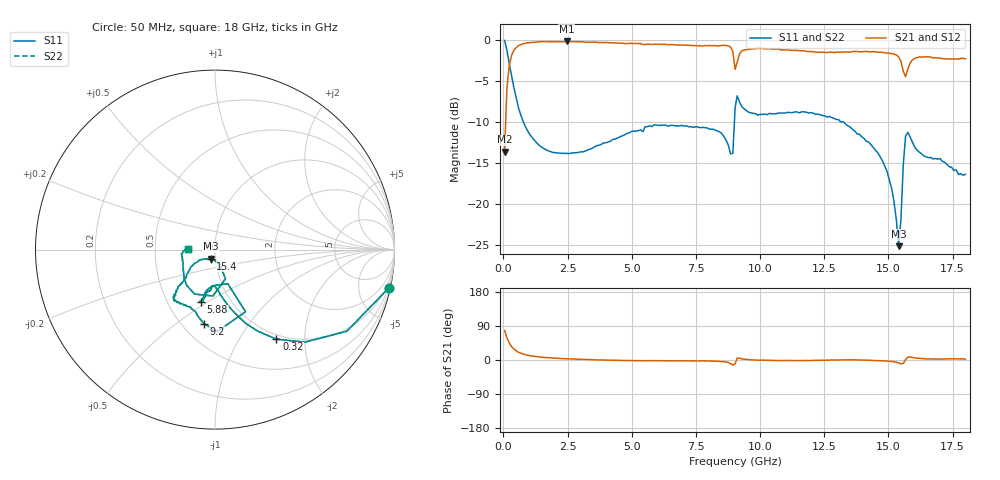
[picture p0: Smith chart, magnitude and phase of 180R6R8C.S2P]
!  American Technical Ceramics  Date:  3/13/98
!  One Norden Lane
!  Huntington Station,  NY.  11746-2102
!  Tel:  (516) 547-5700  Fax:  (516) 547-5748
!  Part Number  180r6r8c
!  Description: Porcelain, High Q, Low ESR
!  Application: Bypass, Coupling, Timing, Feedback
!  Tuning, Impedance Match, Blocking
# GHZ S DB R 50
! Freq  |S11|  S11 Ph  |S21|  S21 Ph  |S12|  S12 Ph  |S22|  S22 Ph
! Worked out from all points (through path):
!   201 points, 50 MHz to 18 GHz, reference 50 ohm
!   highest |S21| = -0.19 dB at 2.47 GHz (marker M1); lowest = -13.7 dB at 50 MHz (marker M2)
!   group delay of S21, straight-line fit = 1.77 ps
!   lowest |S11| = -25.2 dB at 15.4 GHz (marker M3), VSWR 1.12, Z = 47.5 - j4.73 ohm
!   |S11| at or under -10 dB: 779.4 MHz to 9.002 GHz (8.223 GHz wide, 168 % of centre); 13.14069 GHz to 13.204 GHz (63.31 MHz wide, 0.481 % of centre); 13.25 GHz to end of sweep
!   |S22| runs from -25.2 to -0.1 dB; largest |S21 - S12| = 0
!   S11 on the Smith chart (normalised r, x): 50 MHz: 0.34, -9.16; 320 MHz: 0.93, -1.46; 5.88 GHz: 0.73, -0.47; 9.2 GHz: 0.64, -0.64; 15.4 GHz: 0.95, -0.09; 18 GHz: 0.74, +0.01
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0.05  -0.07 -12.4  -13.65 77.8  -13.65 77.8  -0.07 -12.4
0.14  -1.27 -31.7  -5.88 58.6  -5.88 58.6  -1.27 -31.7
0.32  -4.37 -55.6  -1.91 35.6  -1.91 35.6  -4.37 -55.6
0.59  -8.28 -71.5  -0.70 20.4  -0.70 20.4  -8.28 -71.5
1.04  -11.59 -82.0  -0.34 11.3  -0.34 11.3  -11.59 -82.0
2.47  -13.86 -92.2  -0.19 3.1  -0.19 3.1  -13.86 -92.2
3.1  -13.67 -95.0  -0.25 1.7  -0.25 1.7  -13.67 -95.0
5.88  -10.37 -104.8  -0.52 -1.8  -0.52 -1.8  -10.37 -104.8
6.06  -10.45 -104.5  -0.55 -1.9  -0.55 -1.9  -10.45 -104.5
8.4  -11.20 -103.8  -0.74 -3.4  -0.74 -3.4  -11.20 -103.8
8.94  -13.87 -69.4  -1.43 -13.5  -1.43 -13.5  -13.87 -69.4
9.03  -8.27 -63.8  -3.60 -10.0  -3.60 -10.0  -8.27 -63.8
9.11  -6.83 -88.3  -2.73 5.1  -2.73 5.1  -6.83 -88.3
9.2  -7.59 -98.6  -1.74 4.6  -1.74 4.6  -7.59 -98.6
12.08  -8.97 -130.6  -1.45 -1.2  -1.45 -1.2  -8.97 -130.6
14.23  -12.48 -135.8  -1.46 -0.6  -1.46 -0.6  -12.48 -135.8
15.04  -17.17 -146.1  -1.64 -3.3  -1.64 -3.3  -17.17 -146.1
15.4  -25.19 -115.4  -2.07 -7.9  -2.07 -7.9  -25.19 -115.4
15.67  -11.74 -92.6  -4.50 1.1  -4.50 1.1  -11.74 -92.6
15.76  -11.29 -114.7  -3.53 7.9  -3.53 7.9  -11.29 -114.7
16.21  -13.72 -150.2  -2.07 4.4  -2.07 4.4  -13.72 -150.2
18  -16.42 178.2  -2.32 2.3  -2.32 2.3  -16.42 178.2
